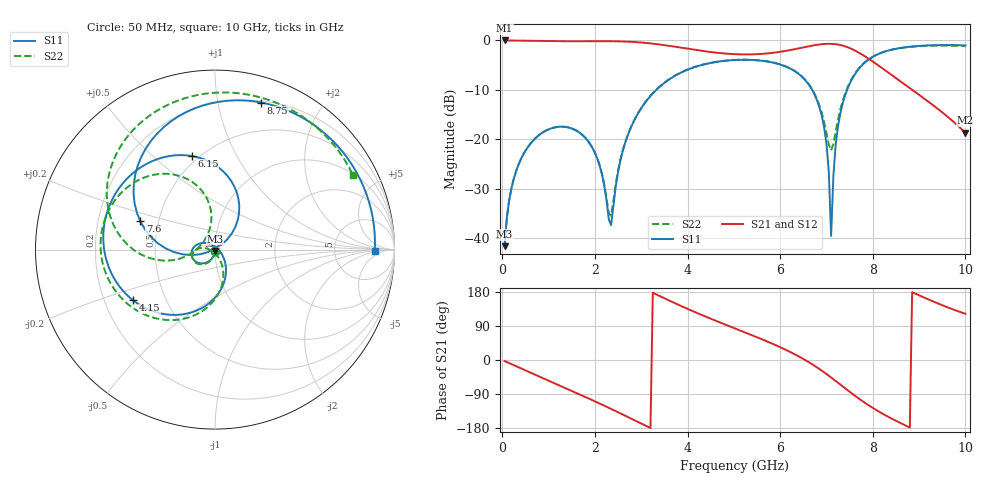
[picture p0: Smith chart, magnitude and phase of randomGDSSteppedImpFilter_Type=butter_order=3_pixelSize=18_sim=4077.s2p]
! freq	dB(S11)	phase(S11)	dB(S12)	phase(S12)
!  dB(S21)	phase(S21)	dB(S22)	phase(S22)
!S-par simulation data
#  GHz  S  DB  R 50
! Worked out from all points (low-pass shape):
!   200 points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, 50 MHz to 10 GHz, reference 50 ohm
!   highest |S21| = -0.01 dB at 50 MHz (marker M1); lowest = -18.7 dB at 10 GHz (marker M2)
!   |S21| within 3 dB of the highest: start of sweep to 7.796 GHz
!   lowest |S11| = -41.6 dB at 50 MHz (marker M3), VSWR 1.02, Z = 50 - j0.832 ohm
!   |S11| at or under -10 dB: start of sweep to 3.325 GHz; 6.69 GHz to 7.446 GHz (755.9 MHz wide, 10.7 % of centre)
!   |S22| runs from -41.6 to -1.0 dB; largest |S21 - S12| = 0
!   S11 on the Smith chart (normalised r, x): 50 MHz: 1.00, -0.02; 4.15 GHz: 0.32, -0.26; 6.15 GHz: 0.46, +0.67; 7.6 GHz: 0.40, +0.15; 8.75 GHz: 0.21, +1.34; 10 GHz: 17, -1
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0.05  -41.59 -91.1  -0.01 -2.8  -0.01 -2.8  -41.59 -90.8
0.2  -29.78 -101.2  -0.02 -11.0  -0.02 -11.0  -29.78 -100.2
0.55  -21.59 -122.0  -0.07 -30.1  -0.07 -30.1  -21.59 -119.0
1.75  -19.28 167.3  -0.17 -95.2  -0.17 -95.2  -19.28 -178.2
2.1  -25.23 139.9  -0.15 -114.7  -0.15 -114.7  -25.18 171.8
2.35  -37.33 31.0  -0.16 -129.1  -0.16 -129.1  -35.44 -112.3
2.7  -19.43 -56.1  -0.24 -149.7  -0.24 -149.7  -19.32 -66.9
3.4  -9.35 -104.1  -0.82 168.7  -0.82 168.7  -9.31 -100.5
4.15  -5.40 -148.3  -1.89 127.0  -1.89 127.0  -5.37 -138.7
5.05  -3.95 164.3  -2.79 82.1  -2.79 82.1  -3.92 -179.8
6.15  -5.39 104.0  -2.07 25.2  -2.07 25.2  -5.35 129.6
6.7  -10.16 65.1  -1.04 -11.8  -1.04 -11.8  -10.01 100.9
7  -20.86 40.0  -0.69 -36.9  -0.69 -36.9  -18.72 104.9
7.05  -26.48 37.0  -0.68 -41.4  -0.68 -41.4  -21.05 119.7
7.1  -39.53 130.6  -0.68 -46.0  -0.68 -46.0  -22.22 145.3
7.15  -27.31 -160.1  -0.71 -50.7  -0.71 -50.7  -20.90 171.1
7.25  -17.30 -167.1  -0.83 -60.1  -0.83 -60.1  -15.97 -167.5
7.6  -7.04 159.3  -1.97 -93.0  -1.97 -93.0  -6.90 -179.7
8.35  -2.00 98.5  -6.60 -150.9  -6.60 -150.9  -2.02 128.8
8.75  -1.32 72.5  -9.30 -175.3  -9.30 -175.3  -1.37 104.9
9.4  -0.94 34.4  -13.80 149.6  -13.80 149.6  -1.04 67.0
10  -1.01 -0.5  -18.68 122.0  -18.68 122.0  -1.17 28.3
